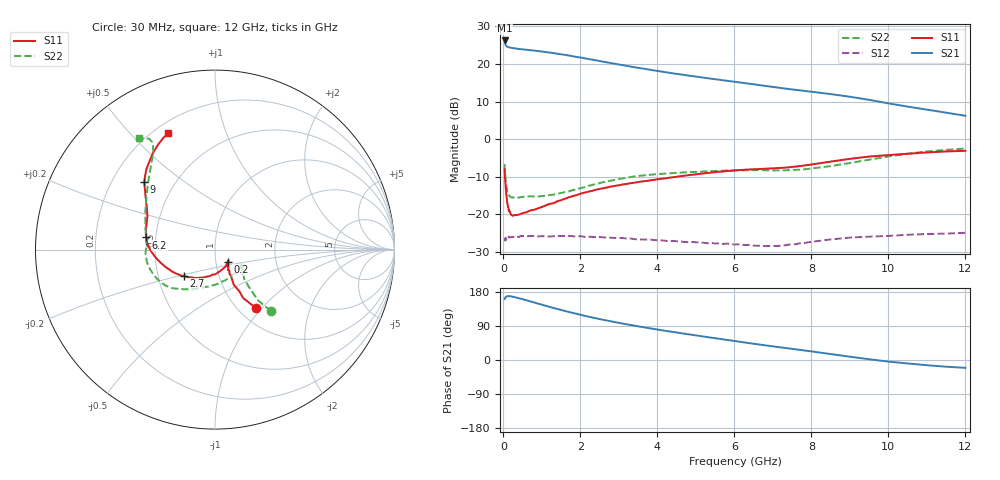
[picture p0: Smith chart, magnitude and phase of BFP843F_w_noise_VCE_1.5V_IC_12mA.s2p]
! Infineon Technologies  Discrete & RF Semiconductors
! BFP843F
! VCE =  1.5 V,  IC =  12 mA
! Common Emitter S-Parameters:  Aug 2013
# GHz  S  MA  R  50
!  f  S11  S21  S12  S22
! GHz  MAG  ANG  MAG  ANG  MAG  ANG  MAG  ANG
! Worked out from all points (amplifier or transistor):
!   103 points, 30 MHz to 12 GHz, reference 50 ohm
!   highest |S21| = 26.3 dB at 30 MHz (marker M1)
!   |S21| within 3 dB of that: start of sweep to 1.034 GHz
!   unconditionally stable (mu >= 1): 166.6 MHz to end of sweep
!   at 400 MHz: K = 1.01, MAG = 24.3 dB, |S12| = -26.1 dB
!   at 3.7 GHz: K = 1.15, MAG = 20.3 dB, |S12| = -26.7 dB
!   at 12 GHz: K = 1.30, MAG = 12.3 dB, |S12| = -24.9 dB
!   lowest NFmin = 0.81 dB at 450 MHz
!   S11 on the Smith chart (normalised r, x): 30 MHz: 1.20, -0.93; 200 MHz: 1.14, -0.16; 2.7 GHz: 0.68, -0.21; 6.2 GHz: 0.44, +0.07; 9 GHz: 0.34, +0.36; 12 GHz: 0.25, +0.64
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0.03  0.3977 -55.0  20.59 160.9  0.0438 29.1  0.4635 -47.7
0.04  0.3114 -59.9  19.18 162.2  0.0443 22.0  0.3698 -49.7
0.05  0.2708 -59.7  18.26 165.1  0.0487 19.9  0.3171 -48.7
0.08  0.1724 -59.0  17.31 167.6  0.0482 12.8  0.2289 -45.1
0.13  0.1212 -51.3  16.75 168.7  0.0493 8.9  0.1815 -35.4
0.2  0.0981 -44.2  16.43 167.8  0.0496 6.0  0.1676 -27.7
0.6  0.1064 -53.7  15.49 157.5  0.0506 2.7  0.1715 -37.7
0.9  0.12 -72.7  14.87 148.7  0.0507 0.1  0.1723 -54.0
1.3  0.1403 -95.7  13.97 137.3  0.0511 -0.6  0.1824 -76.4
1.7  0.1685 -112.5  12.97 126.7  0.0516 -2.4  0.2017 -95.4
2.1  0.194 -125.6  11.94 116.9  0.0501 -3.5  0.229 -111.3
2.7  0.2277 -139.8  10.49 103.9  0.0491 -5.0  0.2734 -126.4
3.4  0.263 -151.4  9.067 90.7  0.0466 -5.4  0.3188 -137.6
4.1  0.2966 -162.1  7.946 78.8  0.0449 -5.1  0.344 -146.0
5.1  0.3447 -175.6  6.693 63.4  0.0421 -3.2  0.3679 -157.7
6.1  0.3866 171.7  5.72 48.7  0.0399 0.5  0.3851 -170.0
6.2  0.3888 170.0  5.628 47.2  0.0392 1.2  0.3857 -171.4
7.1  0.4114 157.3  4.876 34.6  0.0377 9.9  0.3839 176.9
8.5  0.5025 140.7  3.98 15.7  0.0462 17.5  0.4373 152.7
9  0.5463 136.2  3.666 8.7  0.0489 17.2  0.4809 142.7
10.5  0.6385 122.8  2.712 -9.1  0.0533 16.5  0.6396 122.5
12  0.699 112.0  2.046 -20.7  0.0567 19.5  0.7503 124.1
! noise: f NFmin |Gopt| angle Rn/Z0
0.45  0.81  0.02  23  0.02
0.9  0.82  0.03  51  0.02
1.5  0.85  0.03  71  0.03
1.9  0.9  0.04  97  0.04
2.4  0.94  0.05  115  0.05
3.5  0.99  0.08  142  0.11
5.5  1.1  0.16  -167  0.19
10  1.65  0.36  -112  0.29
